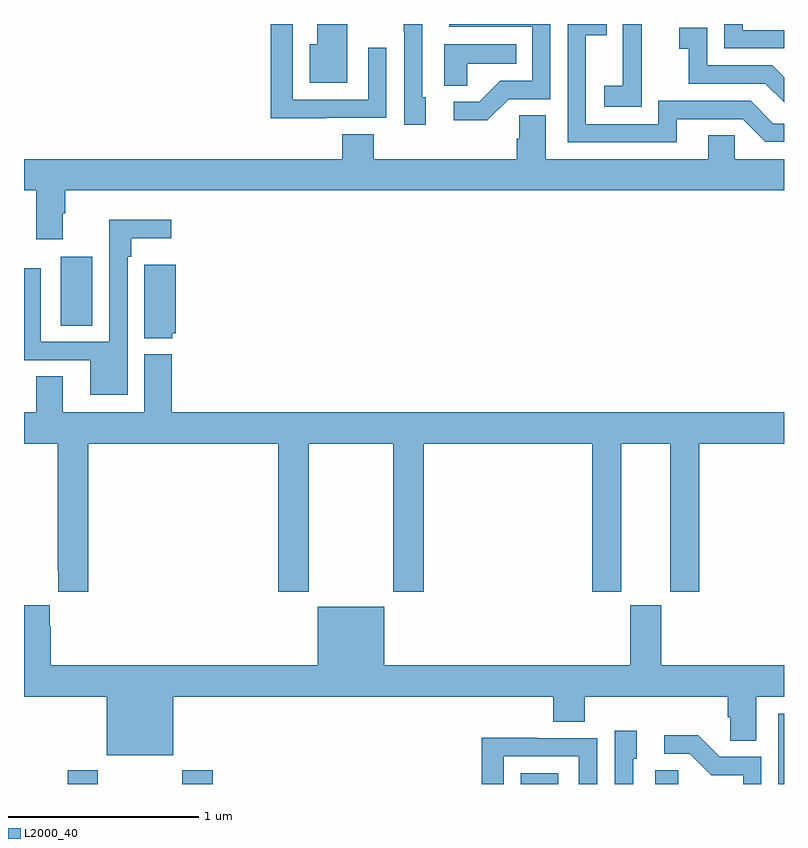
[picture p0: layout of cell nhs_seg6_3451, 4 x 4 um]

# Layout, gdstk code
import gdstk
lib = gdstk.Library(unit=1e-6, precision=1e-09)
def R(c, l, rs):  # rectangles x0, y0, x1, y1
    for r in rs: c.add(gdstk.rectangle(r[:2], r[2:], *l))
def P(c, l, *ps):  # polygons
    for p in ps: c.add(gdstk.Polygon(p, *l))
L2000_40 = (2000, 40)

nhs_seg6_3451 = lib.new_cell('nhs_seg6_3451')
R(nhs_seg6_3451, L2000_40, [(313.229,989.5,313.389,989.572), (313.834,989.5,313.994,989.572), (315.614,989.5,315.811,989.557), (316.322,989.5,316.443,989.573), (316.971,989.5,317,989.871), (313.193,991.912,313.36,992.275)])
P(nhs_seg6_3451, L2000_40, [(316.435,993),(316.782,993),(316.902,992.88),(317,992.88),(317,992.976),(316.944,992.976),(316.824,993.096),(316.338,993.096),(316.338,992.973),(315.957,992.973),(315.957,993.442),(316.067,993.442),(316.067,993.5),(315.861,993.5),(315.861,992.877),(316.435,992.877)],
  [(315.115,993.114),(315.096,993.114),(315.096,993.5),(314.998,993.5),(314.998,993.463),(315,993.463),(315,992.97),(315.115,992.97)],
  [(315.552,993.105),(315.771,993.105),(315.771,993.5),(315.237,993.5),(315.237,993.486),(315.675,993.486),(315.675,993.201),(315.506,993.201),(315.395,993.09),(315.261,993.09),(315.261,992.993),(315.439,992.993)],
  [(314.701,993.5),(314.543,993.5),(314.543,993.394),(314.504,993.394),(314.504,993.191),(314.701,993.191)],
  [(317,993.468),(316.782,993.468),(316.782,993.5),(316.686,993.5),(316.686,993.372),(317,993.372)],
  [(316.251,993.271),(316.25,993.271),(316.25,993.5),(316.152,993.5),(316.152,993.404),(316.151,993.404),(316.151,993.175),(316.053,993.175),(316.053,993.065),(316.251,993.065)],
  [(314.591,993.006),(314.907,993.006),(314.907,993.376),(314.811,993.376),(314.811,993.102),(314.415,993.102),(314.415,993.5),(314.299,993.5),(314.299,993.005),(314.591,993.005)],
  [(317,993.22),(316.938,993.282),(316.596,993.282),(316.596,993.481),(316.449,993.481),(316.449,993.371),(316.498,993.371),(316.498,993.186),(316.901,993.186),(317,993.087)],
  [(315.333,993.29),(315.59,993.29),(315.59,993.394),(315.212,993.394),(315.212,993.175),(315.333,993.175)],
  [(313.204,992.504),(313.217,992.504),(313.217,992.624),(317,992.624),(317,992.788),(316.74,992.788),(316.74,992.915),(316.601,992.915),(316.601,992.788),(315.745,992.788),(315.745,993.02),(315.606,993.02),(315.606,992.897),(315.593,992.897),(315.593,992.788),(314.84,992.788),(314.84,992.921),(314.675,992.921),(314.675,992.788),(313,992.788),(313,992.624),(313.064,992.624),(313.064,992.367),(313.204,992.367)],
  [(313.545,992.276),(313.565,992.276),(313.565,992.372),(313.774,992.372),(313.774,992.47),(313.449,992.47),(313.449,991.827),(313.089,991.827),(313.089,992.215),(313,992.215),(313,991.731),(313.349,991.731),(313.349,991.55),(313.545,991.55)],
  [(313.779,991.872),(313.798,991.872),(313.798,992.233),(313.634,992.233),(313.634,991.847),(313.779,991.847)],
  [(313.337,991.292),(314.339,991.292),(314.339,990.513),(314.499,990.513),(314.499,991.292),(314.944,991.292),(314.944,990.513),(315.104,990.513),(315.104,991.292),(315.992,991.292),(315.992,990.513),(316.144,990.513),(316.144,991.292),(316.4,991.292),(316.4,990.513),(316.553,990.513),(316.553,991.292),(317,991.292),(317,991.456),(313.778,991.456),(313.778,991.762),(313.634,991.762),(313.634,991.456),(313.204,991.456),(313.204,991.646),(313.064,991.646),(313.064,991.456),(313,991.456),(313,991.292),(313.177,991.292),(313.177,990.625),(313.181,990.625),(313.181,990.513),(313.337,990.513)],
  [(314.896,990.433),(314.546,990.433),(314.546,990.124),(313.142,990.124),(313.142,990.329),(313.135,990.329),(313.135,990.442),(313,990.442),(313,989.96),(313.436,989.96),(313.436,989.651),(313.786,989.651),(313.786,989.96),(315.785,989.96),(315.785,989.827),(315.95,989.827),(315.95,989.96),(316.703,989.96),(316.703,989.851),(316.716,989.851),(316.716,989.728),(316.855,989.728),(316.855,989.96),(317,989.96),(317,990.124),(316.354,990.124),(316.354,990.441),(316.19,990.441),(316.19,990.124),(314.896,990.124)],
  [(316.206,989.634),(316.225,989.634),(316.225,989.779),(316.11,989.779),(316.11,989.5),(316.206,989.5)],
  [(316.881,989.643),(316.662,989.643),(316.549,989.756),(316.371,989.756),(316.371,989.658),(316.505,989.658),(316.616,989.547),(316.785,989.547),(316.785,989.5),(316.881,989.5)],
  [(315.525,989.646),(315.921,989.646),(315.921,989.5),(316.017,989.5),(316.017,989.742),(315.701,989.742),(315.701,989.744),(315.409,989.744),(315.409,989.5),(315.525,989.5)])

lib.write_gds('nhs_seg6_3451.gds')
